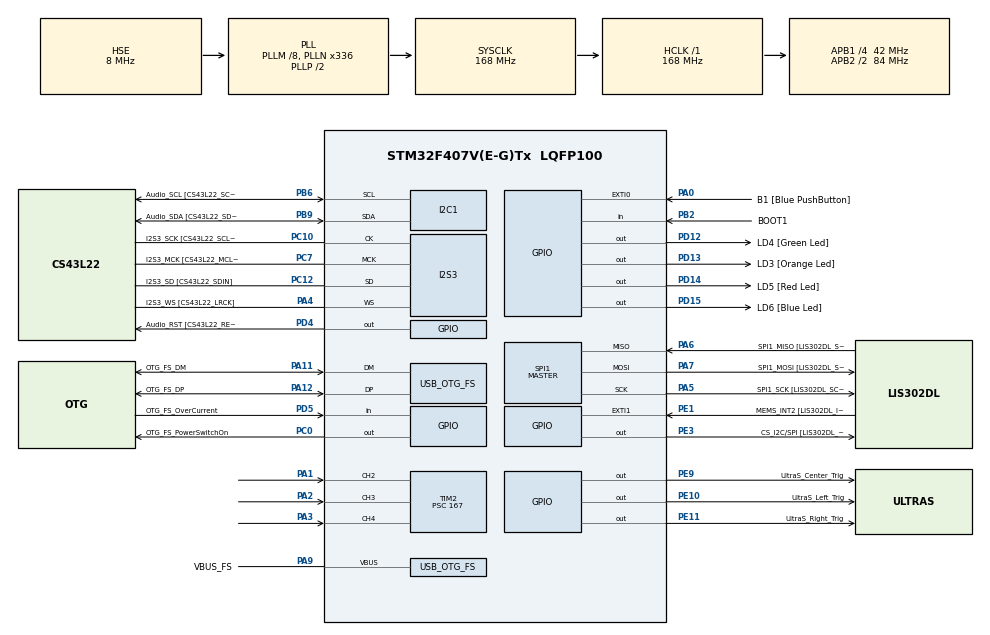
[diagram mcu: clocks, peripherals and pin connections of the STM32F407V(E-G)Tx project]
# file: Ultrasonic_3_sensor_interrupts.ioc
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I2S3.AudioFreq-Half_Duplex_Master=I2S_AUDIOFREQ_96K
I2S3.ErrorAudioFreq=-2.34 %
I2S3.ErrorAudioFreq-Half_Duplex_Master=0.8 %
I2S3.FullDuplexMode=I2S_FULLDUPLEXMODE_DISABLE
I2S3.Instance=SPI$Index
I2S3.RealAudioFreq=93.75 KHz
I2S3.RealAudioFreq-Half_Duplex_Master=96.774 KHz
I2S3.VirtualMode=I2S_MODE_MASTER
Mcu.Family=STM32F4
Mcu.Name=STM32F407V(E-G)Tx
Mcu.Package=LQFP100
NVIC.OTG_FS_IRQn=true\:0\:0\:false\:false\:true\:true\:true\:true
NVIC.PriorityGroup=NVIC_PRIORITYGROUP_0
NVIC.TIM2_IRQn=true\:0\:0\:false\:false\:true\:true\:true\:true
PA0-WKUP.GPIO_Label=B1 [Blue PushButton]
PA0-WKUP.GPIO_ModeDefaultEXTI=GPIO_MODE_EVT_RISING
PA0-WKUP.GPIO_PuPd=GPIO_NOPULL
PA0-WKUP.Signal=GPXTI0
PA1.Signal=S_TIM2_CH2
PA10.GPIO_Label=OTG_FS_ID
PA10.GPIO_Mode=GPIO_MODE_AF_PP
PA10.GPIO_PuPd=GPIO_NOPULL
PA10.GPIO_Speed=GPIO_SPEED_FREQ_LOW
PA10.Signal=USB_OTG_FS_ID
PA11.GPIO_Label=OTG_FS_DM
PA11.GPIO_Mode=GPIO_MODE_AF_PP
PA11.GPIO_PuPd=GPIO_NOPULL
PA11.GPIO_Speed=GPIO_SPEED_FREQ_LOW
PA11.Mode=Host_Only
PA11.Signal=USB_OTG_FS_DM
PA12.GPIO_Label=OTG_FS_DP
PA12.GPIO_Mode=GPIO_MODE_AF_PP
PA12.GPIO_PuPd=GPIO_NOPULL
PA12.GPIO_Speed=GPIO_SPEED_FREQ_LOW
PA12.Mode=Host_Only
PA12.Signal=USB_OTG_FS_DP
PA13.GPIO_Label=SWDIO
PA13.Mode=Serial_Wire
PA13.Signal=SYS_JTMS-SWDIO
PA14.GPIO_Label=SWCLK
PA14.Mode=Serial_Wire
PA14.Signal=SYS_JTCK-SWCLK
PA2.Signal=S_TIM2_CH3
PA3.Signal=S_TIM2_CH4
PA4.GPIO_Label=I2S3_WS [CS43L22_LRCK]
PA4.GPIO_Mode=GPIO_MODE_AF_PP
PA4.GPIO_PuPd=GPIO_NOPULL
PA4.GPIO_Speed=GPIO_SPEED_FREQ_LOW
PA4.Mode=Half_Duplex_Master
PA4.Signal=I2S3_WS
PA5.GPIO_Label=SPI1_SCK [LIS302DL_SCL/SPC]
PA5.GPIO_Mode=GPIO_MODE_AF_PP
PA5.GPIO_PuPd=GPIO_NOPULL
PA5.GPIO_Speed=GPIO_SPEED_FREQ_LOW
PA5.Mode=Full_Duplex_Master
PA5.Signal=SPI1_SCK
PA6.GPIO_Label=SPI1_MISO [LIS302DL_SDO]
PA6.GPIO_Mode=GPIO_MODE_AF_PP
PA6.GPIO_PuPd=GPIO_NOPULL
PA6.GPIO_Speed=GPIO_SPEED_FREQ_LOW
PA6.Mode=Full_Duplex_Master
PA6.Signal=SPI1_MISO
PA7.GPIO_Label=SPI1_MOSI [LIS302DL_SDA/SDI/SDO]
PA7.GPIO_Mode=GPIO_MODE_AF_PP
PA7.GPIO_PuPd=GPIO_NOPULL
PA7.GPIO_Speed=GPIO_SPEED_FREQ_LOW
PA7.Mode=Full_Duplex_Master
PA7.Signal=SPI1_MOSI
PA9.GPIO_Label=VBUS_FS
PA9.GPIO_Mode=GPIO_MODE_INPUT
PA9.GPIO_PuPd=GPIO_NOPULL
PA9.Mode=Activate_VBUS
PA9.Signal=USB_OTG_FS_VBUS
PB10.GPIO_Label=CLK_IN [MP45DT02_CLK]
PB10.GPIO_Mode=GPIO_MODE_AF_PP
PB10.GPIO_PuPd=GPIO_NOPULL
PB10.GPIO_Speed=GPIO_SPEED_FREQ_LOW
PB10.Signal=I2S2_CK
PB2.GPIO_Label=BOOT1
PB2.GPIO_Mode=GPIO_MODE_INPUT
PB2.GPIO_PuPd=GPIO_NOPULL
PB2.Signal=GPIO_Input
PB3.GPIO_Label=SWO
PB3.Signal=SYS_JTDO-SWO
PB6.GPIO_Label=Audio_SCL [CS43L22_SCL]
PB6.GPIO_Mode=GPIO_MODE_AF_OD
PB6.GPIO_Pu=GPIO_PULLUP
PB6.GPIO_PuPd=GPIO_NOPULL
PB6.GPIO_Speed=GPIO_SPEED_FREQ_LOW
PB6.Mode=I2C
PB6.Signal=I2C1_SCL
PB9.GPIO_Label=Audio_SDA [CS43L22_SDA]
PB9.GPIO_Mode=GPIO_MODE_AF_OD
PB9.GPIO_Pu=GPIO_PULLUP
PB9.GPIO_PuPd=GPIO_NOPULL
PB9.GPIO_Speed=GPIO_SPEED_FREQ_LOW
PB9.Mode=I2C
PB9.Signal=I2C1_SDA
PC0.GPIO_Label=OTG_FS_PowerSwitchOn
PC0.GPIO_PuPd=GPIO_NOPULL
PC0.GPIO_Speed=GPIO_SPEED_FREQ_LOW
PC0.PinState=GPIO_PIN_SET
PC0.Signal=GPIO_Output
PC10.GPIO_Label=I2S3_SCK [CS43L22_SCLK]
PC10.GPIO_Mode=GPIO_MODE_AF_PP
PC10.GPIO_PuPd=GPIO_NOPULL
PC10.GPIO_Speed=GPIO_SPEED_FREQ_LOW
PC10.Mode=Half_Duplex_Master
PC10.Signal=I2S3_CK
PC12.GPIO_Label=I2S3_SD [CS43L22_SDIN]
PC12.GPIO_Mode=GPIO_MODE_AF_PP
PC12.GPIO_PuPd=GPIO_NOPULL
PC12.GPIO_Speed=GPIO_SPEED_FREQ_LOW
PC12.Mode=Half_Duplex_Master
PC12.Signal=I2S3_SD
PC14-OSC32_IN.GPIO_Label=PC14-OSC32_IN
PC14-OSC32_IN.Mode=LSE-External-Oscillator
PC14-OSC32_IN.Signal=RCC_OSC32_IN
PC15-OSC32_OUT.GPIO_Label=PC15-OSC32_OUT
PC15-OSC32_OUT.Mode=LSE-External-Oscillator
PC15-OSC32_OUT.Signal=RCC_OSC32_OUT
PC3.GPIO_Label=PDM_OUT [MP45DT02_DOUT]
PC3.GPIO_Mode=GPIO_MODE_AF_PP
PC3.GPIO_PuPd=GPIO_NOPULL
PC3.GPIO_Speed=GPIO_SPEED_FREQ_LOW
PC3.Signal=I2S2_SD
PC7.GPIO_Label=I2S3_MCK [CS43L22_MCLK]
PC7.GPIO_Mode=GPIO_MODE_AF_PP
PC7.GPIO_PuPd=GPIO_NOPULL
PC7.GPIO_Speed=GPIO_SPEED_FREQ_LOW
PC7.Mode=Master_Clock_Activated
PC7.Signal=I2S3_MCK
PD12.GPIO_Label=LD4 [Green Led]
PD12.GPIO_PuPd=GPIO_NOPULL
PD12.GPIO_Speed=GPIO_SPEED_FREQ_LOW
PD12.Signal=GPIO_Output
PD13.GPIO_Label=LD3 [Orange Led]
PD13.GPIO_PuPd=GPIO_NOPULL
PD13.GPIO_Speed=GPIO_SPEED_FREQ_LOW
PD13.Signal=GPIO_Output
PD14.GPIO_Label=LD5 [Red Led]
PD14.GPIO_PuPd=GPIO_NOPULL
PD14.GPIO_Speed=GPIO_SPEED_FREQ_LOW
PD14.Signal=GPIO_Output
PD15.GPIO_Label=LD6 [Blue Led]
PD15.GPIO_PuPd=GPIO_NOPULL
PD15.GPIO_Speed=GPIO_SPEED_FREQ_LOW
PD15.Signal=GPIO_Output
PD4.GPIO_Label=Audio_RST [CS43L22_RESET]
PD4.GPIO_PuPd=GPIO_NOPULL
PD4.GPIO_Speed=GPIO_SPEED_FREQ_LOW
PD4.Signal=GPIO_Output
PD5.GPIO_Label=OTG_FS_OverCurrent
PD5.GPIO_Mode=GPIO_MODE_INPUT
PD5.GPIO_PuPd=GPIO_NOPULL
PD5.Signal=GPIO_Input
PE1.GPIO_Label=MEMS_INT2 [LIS302DL_INT2]
PE1.GPIO_ModeDefaultEXTI=GPIO_MODE_EVT_RISING
PE1.GPIO_PuPd=GPIO_NOPULL
PE1.Signal=GPXTI1
PE10.GPIO_Label=UltraS_Left_Trig
PE10.Signal=GPIO_Output
PE11.GPIO_Label=UltraS_Right_Trig
PE11.Signal=GPIO_Output
PE3.GPIO_Label=CS_I2C/SPI [LIS302DL_CS_I2C/SPI]
PE3.GPIO_PuPd=GPIO_NOPULL
PE3.GPIO_Speed=GPIO_SPEED_FREQ_LOW
PE3.Signal=GPIO_Output
PE9.GPIO_Label=UltraS_Center_Trig
PE9.Signal=GPIO_Output
PH0-OSC_IN.GPIO_Label=PH0-OSC_IN
PH0-OSC_IN.Mode=HSE-External-Oscillator
PH0-OSC_IN.Signal=RCC_OSC_IN
PH1-OSC_OUT.GPIO_Label=PH1-OSC_OUT
PH1-OSC_OUT.Mode=HSE-External-Oscillator
PH1-OSC_OUT.Signal=RCC_OSC_OUT
ProjectManager.HeapSize=0x200
ProjectManager.StackSize=0x400
ProjectManager.TargetToolchain=CMake
RCC.48MHZClocksFreq_Value=48000000
RCC.AHBFreq_Value=168000000
RCC.APB1CLKDivider=RCC_HCLK_DIV4
RCC.APB1Freq_Value=42000000
RCC.APB1TimFreq_Value=84000000
RCC.APB2CLKDivider=RCC_HCLK_DIV2
RCC.APB2Freq_Value=84000000
RCC.APB2TimFreq_Value=168000000
RCC.CortexFreq_Value=168000000
RCC.HCLKFreq_Value=168000000
RCC.HSE_VALUE=8000000
RCC.HSI_VALUE=16000000
RCC.PLLM=8
RCC.PLLN=336
RCC.PLLQ=7
RCC.SYSCLKFreq_VALUE=168000000
RCC.SYSCLKSource=RCC_SYSCLKSOURCE_PLLCLK
RCC.VCOOutputFreq_Value=336000000
SH.S_TIM2_CH2.0=TIM2_CH2,Input_Capture2_from_TI2
SH.S_TIM2_CH3.0=TIM2_CH3,Input_Capture3_from_TI3
SH.S_TIM2_CH4.0=TIM2_CH4,Input_Capture4_from_TI4
SPI1.BaudRatePrescaler-Full_Duplex_Master=SPI_BAUDRATEPRESCALER_2
SPI1.CalculateBaudRate-Full_Duplex_Master=42.0 MBits/s
SPI1.Direction=SPI_DIRECTION_2LINES
SPI1.Mode=SPI_MODE_MASTER
SPI1.Mode-Full_Duplex_Master=SPI_MODE_MASTER
SPI1.VirtualType=VM_MASTER
TIM2.Channel-Input_Capture2_from_TI2=TIM_CHANNEL_2
TIM2.Channel-Input_Capture3_from_TI3=TIM_CHANNEL_3
TIM2.Channel-Input_Capture4_from_TI4=TIM_CHANNEL_4
TIM2.Prescaler=167
USB_HOST.BSP.number=1
USB_HOST.USBH_HandleTypeDef-CDC_FS=hUsbHostFS
USB_HOST.VirtualModeFS=Cdc
USB_HOST0.BSP.STBoard=false
USB_HOST0.BSP.api=Unknown
USB_HOST0.BSP.instance=PC0
USB_HOST0.BSP.ip=GPIO
USB_HOST0.BSP.mode=Output
USB_HOST0.BSP.name=Drive_VBUS_FS
USB_HOST0.BSP.solution=PC0
USB_OTG_FS.VirtualMode=Host_Only
USB_OTG_FS.phy_itface=HCD_PHY_EMBEDDED
VP_TIM2_VS_ClockSourceINT.Mode=Internal
VP_USB_HOST_VS_USB_HOST_CDC_FS.Mode=CDC_FS
board=STM32F407G-DISC1

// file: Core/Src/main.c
/* USER CODE BEGIN Header */
/**
  ******************************************************************************
  * @file           : main.c
  * @brief          : Main program body
  ******************************************************************************
  * @attention
  *
  * Copyright (c) 2026 STMicroelectronics.
  * All rights reserved.
  *
  * This software is licensed under terms that can be found in the LICENSE file
  * in the root directory of this software component.
  * If no LICENSE file comes with this software, it is provided AS-IS.
  *
  ******************************************************************************
  */
/* USER CODE END Header */
#include "main.h"
#include "usb_host.h"

I2C_HandleTypeDef hi2c1;

I2S_HandleTypeDef hi2s3;

SPI_HandleTypeDef hspi1;

TIM_HandleTypeDef htim2;

/* USER CODE BEGIN PV */
typedef struct {
  uint32_t IC_Val1;
  uint32_t IC_Val2;
  uint32_t Difference; // (cm)
  uint8_t Is_First_Captured;
  float Distance; // (cm)
} HCSR04_t;

HCSR04_t sensors[3];

typedef enum ultrasonic_sensor_direction {
  CENTER = 0,
  LEFT = 1,
  RIGHT = 2
}ultrasonicDir;
/* USER CODE END PV */

void SystemClock_Config(void);
static void MX_GPIO_Init(void);
static void MX_I2C1_Init(void);
static void MX_I2S3_Init(void);
static void MX_SPI1_Init(void);
static void MX_TIM2_Init(void);
void MX_USB_HOST_Process(void);

/* USER CODE BEGIN 0 */
HCSR04_t* getSensorByChannel(uint32_t channel)
{
  switch(channel)
  {
    case HAL_TIM_ACTIVE_CHANNEL_2: return &sensors[CENTER];
    case HAL_TIM_ACTIVE_CHANNEL_3: return &sensors[LEFT];
    case HAL_TIM_ACTIVE_CHANNEL_4: return &sensors[RIGHT];
    default: return NULL;
  }
}

void DWT_Init(void)
{
  CoreDebug->DEMCR |= CoreDebug_DEMCR_TRCENA_Msk;
  DWT->CYCCNT = 0;
  DWT->CTRL |= DWT_CTRL_CYCCNTENA_Msk;
}

void delay_us(uint32_t us)
{
  uint32_t cycles = (SystemCoreClock / 1000000) * us;
  uint32_t start = DWT->CYCCNT;

  while ((DWT->CYCCNT - start) < cycles)
    ;
}

void HCSR04_Trigger(ultrasonicDir currDir)
{
  // select the ultrasonic sensor to trigger
  GPIO_TypeDef* Ultrasound_TRIG_GPIO_Port;
  uint16_t Ultrasound_TRIG_Pin;
  switch (currDir) {
    case CENTER:
      Ultrasound_TRIG_GPIO_Port = UltraS_Center_Trig_GPIO_Port;
      Ultrasound_TRIG_Pin = UltraS_Center_Trig_Pin;
      break;
    case LEFT:
      Ultrasound_TRIG_GPIO_Port = UltraS_Left_Trig_GPIO_Port;
      Ultrasound_TRIG_Pin = UltraS_Left_Trig_Pin;
      break;
    case RIGHT:
      Ultrasound_TRIG_GPIO_Port = UltraS_Right_Trig_GPIO_Port;
      Ultrasound_TRIG_Pin = UltraS_Right_Trig_Pin;
      break;
    default:
      return;
  }

  HAL_GPIO_WritePin(Ultrasound_TRIG_GPIO_Port, Ultrasound_TRIG_Pin, GPIO_PIN_RESET);
  delay_us(10);

  HAL_GPIO_WritePin(Ultrasound_TRIG_GPIO_Port , Ultrasound_TRIG_Pin, GPIO_PIN_SET);
  delay_us(10);

  HAL_GPIO_WritePin(Ultrasound_TRIG_GPIO_Port, Ultrasound_TRIG_Pin, GPIO_PIN_RESET);
}

void HAL_TIM_IC_CaptureCallback(TIM_HandleTypeDef *htim)
{
  HCSR04_t* sensor = getSensorByChannel(htim->Channel);
  if (sensor == NULL)
    return;

  uint32_t channel;

  switch(htim->Channel)
  {
    case HAL_TIM_ACTIVE_CHANNEL_2:
      channel = TIM_CHANNEL_2;
      break;
    case HAL_TIM_ACTIVE_CHANNEL_3:
      channel = TIM_CHANNEL_3;
      break;
    case HAL_TIM_ACTIVE_CHANNEL_4:
      channel = TIM_CHANNEL_4;
      break;
    default:
      return;
  }

  if (sensor->Is_First_Captured == 0)
  {
    sensor->IC_Val1 = HAL_TIM_ReadCapturedValue(htim, channel);
    sensor->Is_First_Captured = 1;

    __HAL_TIM_SET_CAPTUREPOLARITY(htim, channel, TIM_INPUTCHANNELPOLARITY_FALLING);
  }
  else if (sensor->Is_First_Captured == 1)
  {
    sensor->IC_Val2 = HAL_TIM_ReadCapturedValue(htim, channel);

    if (sensor->IC_Val2 > sensor->IC_Val1)
      sensor->Difference = sensor->IC_Val2 - sensor->IC_Val1;
    else
      sensor->Difference = (0xffffffff - sensor->IC_Val1) + sensor->IC_Val2;

    sensor->Distance = sensor->Difference * 0.034 / 2.0;

    sensor->Is_First_Captured = 0;

    __HAL_TIM_SET_CAPTUREPOLARITY(htim, channel, TIM_INPUTCHANNELPOLARITY_RISING);
  }
}
/* USER CODE END 0 */

int main(void)
{

  /* MCU Configuration--------------------------------------------------------*/

  /* Reset of all peripherals, Initializes the Flash interface and the Systick. */
  HAL_Init();

  /* Configure the system clock */
  SystemClock_Config();

  /* Initialize all configured peripherals */
  MX_GPIO_Init();
  MX_I2C1_Init();
  MX_I2S3_Init();
  MX_SPI1_Init();
  MX_USB_HOST_Init();
  MX_TIM2_Init();
  /* USER CODE BEGIN 2 */
  HAL_TIM_IC_Start_IT(&htim2, TIM_CHANNEL_2);
  HAL_TIM_IC_Start_IT(&htim2, TIM_CHANNEL_3);
  HAL_TIM_IC_Start_IT(&htim2, TIM_CHANNEL_4);
  DWT_Init();
  /* USER CODE END 2 */

  /* Infinite loop */
  /* USER CODE BEGIN WHILE */
  ultrasonicDir currDir;
  while (1)
  {
    // reality - CANNOT trigger all 3 sensors simultaneously: otherwise, we get interference
    // need 50 ms (at least 30 ms) between each sensor
    uint16_t ledPins[3] = {GPIO_PIN_12, GPIO_PIN_13, GPIO_PIN_14};
    for (int i = 0; i < 3; i++) {
      currDir = i;

      // reset the current sensor's values if they were left in the air previously
      sensors[i].Is_First_Captured = 0;
      sensors[i].Distance = 999;

      HCSR04_Trigger(currDir);
      HAL_Delay(50);

      // watchdog for if the current sensor doesn't receive echo => is_first_captured becomes stuck at 1 forever
      if (sensors[i].Is_First_Captured == 1) {
        sensors[i].Is_First_Captured = 0;
      }

      if(sensors[i].Distance <= 5) {
        HAL_GPIO_WritePin(GPIOD, ledPins[i], GPIO_PIN_SET);
      }
      else {
        HAL_GPIO_WritePin(GPIOD, ledPins[i], GPIO_PIN_RESET);
      }
    }

    /* USER CODE END WHILE */
    MX_USB_HOST_Process();

  }
}

void SystemClock_Config(void)
{
  RCC_OscInitTypeDef RCC_OscInitStruct = {0};
  RCC_ClkInitTypeDef RCC_ClkInitStruct = {0};

  /** Configure the main internal regulator output voltage
  */
  __HAL_RCC_PWR_CLK_ENABLE();
  __HAL_PWR_VOLTAGESCALING_CONFIG(PWR_REGULATOR_VOLTAGE_SCALE1);

  /** Initializes the RCC Oscillators according to the specified parameters
  * in the RCC_OscInitTypeDef structure.
  */
  RCC_OscInitStruct.OscillatorType = RCC_OSCILLATORTYPE_HSE;
  RCC_OscInitStruct.HSEState = RCC_HSE_ON;
  RCC_OscInitStruct.PLL.PLLState = RCC_PLL_ON;
  RCC_OscInitStruct.PLL.PLLSource = RCC_PLLSOURCE_HSE;
  RCC_OscInitStruct.PLL.PLLM = 8;
  RCC_OscInitStruct.PLL.PLLN = 336;
  RCC_OscInitStruct.PLL.PLLP = RCC_PLLP_DIV2;
  RCC_OscInitStruct.PLL.PLLQ = 7;
  if (HAL_RCC_OscConfig(&RCC_OscInitStruct) != HAL_OK)
  {
    Error_Handler();
  }

  /** Initializes the CPU, AHB and APB buses clocks
  */
  RCC_ClkInitStruct.ClockType = RCC_CLOCKTYPE_HCLK|RCC_CLOCKTYPE_SYSCLK
                              |RCC_CLOCKTYPE_PCLK1|RCC_CLOCKTYPE_PCLK2;
  RCC_ClkInitStruct.SYSCLKSource = RCC_SYSCLKSOURCE_PLLCLK;
  RCC_ClkInitStruct.AHBCLKDivider = RCC_SYSCLK_DIV1;
  RCC_ClkInitStruct.APB1CLKDivider = RCC_HCLK_DIV4;
  RCC_ClkInitStruct.APB2CLKDivider = RCC_HCLK_DIV2;

  if (HAL_RCC_ClockConfig(&RCC_ClkInitStruct, FLASH_LATENCY_5) != HAL_OK)
  {
    Error_Handler();
  }
}

static void MX_I2C1_Init(void)
{

  hi2c1.Instance = I2C1;
  hi2c1.Init.ClockSpeed = 100000;
  hi2c1.Init.DutyCycle = I2C_DUTYCYCLE_2;
  hi2c1.Init.OwnAddress1 = 0;
  hi2c1.Init.AddressingMode = I2C_ADDRESSINGMODE_7BIT;
  hi2c1.Init.DualAddressMode = I2C_DUALADDRESS_DISABLE;
  hi2c1.Init.OwnAddress2 = 0;
  hi2c1.Init.GeneralCallMode = I2C_GENERALCALL_DISABLE;
  hi2c1.Init.NoStretchMode = I2C_NOSTRETCH_DISABLE;
  if (HAL_I2C_Init(&hi2c1) != HAL_OK)
  {
    Error_Handler();
  }

}

static void MX_I2S3_Init(void)
{

  hi2s3.Instance = SPI3;
  hi2s3.Init.Mode = I2S_MODE_MASTER_TX;
  hi2s3.Init.Standard = I2S_STANDARD_PHILIPS;
  hi2s3.Init.DataFormat = I2S_DATAFORMAT_16B;
  hi2s3.Init.MCLKOutput = I2S_MCLKOUTPUT_ENABLE;
  hi2s3.Init.AudioFreq = I2S_AUDIOFREQ_96K;
  hi2s3.Init.CPOL = I2S_CPOL_LOW;
  hi2s3.Init.ClockSource = I2S_CLOCK_PLL;
  hi2s3.Init.FullDuplexMode = I2S_FULLDUPLEXMODE_DISABLE;
  if (HAL_I2S_Init(&hi2s3) != HAL_OK)
  {
    Error_Handler();
  }

}

static void MX_SPI1_Init(void)
{

  /* SPI1 parameter configuration*/
  hspi1.Instance = SPI1;
  hspi1.Init.Mode = SPI_MODE_MASTER;
  hspi1.Init.Direction = SPI_DIRECTION_2LINES;
  hspi1.Init.DataSize = SPI_DATASIZE_8BIT;
  hspi1.Init.CLKPolarity = SPI_POLARITY_LOW;
  hspi1.Init.CLKPhase = SPI_PHASE_1EDGE;
  hspi1.Init.NSS = SPI_NSS_SOFT;
  hspi1.Init.BaudRatePrescaler = SPI_BAUDRATEPRESCALER_2;
  hspi1.Init.FirstBit = SPI_FIRSTBIT_MSB;
  hspi1.Init.TIMode = SPI_TIMODE_DISABLE;
  hspi1.Init.CRCCalculation = SPI_CRCCALCULATION_DISABLE;
  hspi1.Init.CRCPolynomial = 10;
  if (HAL_SPI_Init(&hspi1) != HAL_OK)
  {
    Error_Handler();
  }

}

static void MX_TIM2_Init(void)
{

  TIM_ClockConfigTypeDef sClockSourceConfig = {0};
  TIM_MasterConfigTypeDef sMasterConfig = {0};
  TIM_IC_InitTypeDef sConfigIC = {0};

  htim2.Instance = TIM2;
  htim2.Init.Prescaler = 167;
  htim2.Init.CounterMode = TIM_COUNTERMODE_UP;
  htim2.Init.Period = 4294967295;
  htim2.Init.ClockDivision = TIM_CLOCKDIVISION_DIV1;
  htim2.Init.AutoReloadPreload = TIM_AUTORELOAD_PRELOAD_DISABLE;
  if (HAL_TIM_Base_Init(&htim2) != HAL_OK)
  {
    Error_Handler();
  }
  sClockSourceConfig.ClockSource = TIM_CLOCKSOURCE_INTERNAL;
  if (HAL_TIM_ConfigClockSource(&htim2, &sClockSourceConfig) != HAL_OK)
  {
    Error_Handler();
  }
  if (HAL_TIM_IC_Init(&htim2) != HAL_OK)
  {
    Error_Handler();
  }
  sMasterConfig.MasterOutputTrigger = TIM_TRGO_RESET;
  sMasterConfig.MasterSlaveMode = TIM_MASTERSLAVEMODE_DISABLE;
  if (HAL_TIMEx_MasterConfigSynchronization(&htim2, &sMasterConfig) != HAL_OK)
  {
    Error_Handler();
  }
  sConfigIC.ICPolarity = TIM_INPUTCHANNELPOLARITY_RISING;
  sConfigIC.ICSelection = TIM_ICSELECTION_DIRECTTI;
  sConfigIC.ICPrescaler = TIM_ICPSC_DIV1;
  sConfigIC.ICFilter = 0;
  if (HAL_TIM_IC_ConfigChannel(&htim2, &sConfigIC, TIM_CHANNEL_2) != HAL_OK)
  {
    Error_Handler();
  }
  if (HAL_TIM_IC_ConfigChannel(&htim2, &sConfigIC, TIM_CHANNEL_3) != HAL_OK)
  {
    Error_Handler();
  }
  if (HAL_TIM_IC_ConfigChannel(&htim2, &sConfigIC, TIM_CHANNEL_4) != HAL_OK)
  {
    Error_Handler();
  }

}

static void MX_GPIO_Init(void)
{
  GPIO_InitTypeDef GPIO_InitStruct = {0};

  /* GPIO Ports Clock Enable */
  __HAL_RCC_GPIOE_CLK_ENABLE();
  __HAL_RCC_GPIOC_CLK_ENABLE();
  __HAL_RCC_GPIOH_CLK_ENABLE();
  __HAL_RCC_GPIOA_CLK_ENABLE();
  __HAL_RCC_GPIOB_CLK_ENABLE();
  __HAL_RCC_GPIOD_CLK_ENABLE();

  /*Configure GPIO pin Output Level */
  HAL_GPIO_WritePin(GPIOE, CS_I2C_SPI_Pin|UltraS_Center_Trig_Pin|UltraS_Left_Trig_Pin|UltraS_Right_Trig_Pin, GPIO_PIN_RESET);

  /*Configure GPIO pin Output Level */
  HAL_GPIO_WritePin(OTG_FS_PowerSwitchOn_GPIO_Port, OTG_FS_PowerSwitchOn_Pin, GPIO_PIN_SET);

  /*Configure GPIO pin Output Level */
  HAL_GPIO_WritePin(GPIOD, LD4_Pin|LD3_Pin|LD5_Pin|LD6_Pin
                          |Audio_RST_Pin, GPIO_PIN_RESET);

  /*Configure GPIO pins : CS_I2C_SPI_Pin UltraS_Center_Trig_Pin UltraS_Left_Trig_Pin UltraS_Right_Trig_Pin */
  GPIO_InitStruct.Pin = CS_I2C_SPI_Pin|UltraS_Center_Trig_Pin|UltraS_Left_Trig_Pin|UltraS_Right_Trig_Pin;
  GPIO_InitStruct.Mode = GPIO_MODE_OUTPUT_PP;
  GPIO_InitStruct.Pull = GPIO_NOPULL;
  GPIO_InitStruct.Speed = GPIO_SPEED_FREQ_LOW;
  HAL_GPIO_Init(GPIOE, &GPIO_InitStruct);

  /*Configure GPIO pin : OTG_FS_PowerSwitchOn_Pin */
  GPIO_InitStruct.Pin = OTG_FS_PowerSwitchOn_Pin;
  GPIO_InitStruct.Mode = GPIO_MODE_OUTPUT_PP;
  GPIO_InitStruct.Pull = GPIO_NOPULL;
  GPIO_InitStruct.Speed = GPIO_SPEED_FREQ_LOW;
  HAL_GPIO_Init(OTG_FS_PowerSwitchOn_GPIO_Port, &GPIO_InitStruct);

  /*Configure GPIO pin : PDM_OUT_Pin */
  GPIO_InitStruct.Pin = PDM_OUT_Pin;
  GPIO_InitStruct.Mode = GPIO_MODE_AF_PP;
  GPIO_InitStruct.Pull = GPIO_NOPULL;
  GPIO_InitStruct.Speed = GPIO_SPEED_FREQ_LOW;
  GPIO_InitStruct.Alternate = GPIO_AF5_SPI2;
  HAL_GPIO_Init(PDM_OUT_GPIO_Port, &GPIO_InitStruct);

  /*Configure GPIO pin : B1_Pin */
  GPIO_InitStruct.Pin = B1_Pin;
  GPIO_InitStruct.Mode = GPIO_MODE_EVT_RISING;
  GPIO_InitStruct.Pull = GPIO_NOPULL;
  HAL_GPIO_Init(B1_GPIO_Port, &GPIO_InitStruct);

  /*Configure GPIO pin : BOOT1_Pin */
  GPIO_InitStruct.Pin = BOOT1_Pin;
  GPIO_InitStruct.Mode = GPIO_MODE_INPUT;
  GPIO_InitStruct.Pull = GPIO_NOPULL;
  HAL_GPIO_Init(BOOT1_GPIO_Port, &GPIO_InitStruct);

  /*Configure GPIO pin : CLK_IN_Pin */
  GPIO_InitStruct.Pin = CLK_IN_Pin;
  GPIO_InitStruct.Mode = GPIO_MODE_AF_PP;
  GPIO_InitStruct.Pull = GPIO_NOPULL;
  GPIO_InitStruct.Speed = GPIO_SPEED_FREQ_LOW;
  GPIO_InitStruct.Alternate = GPIO_AF5_SPI2;
  HAL_GPIO_Init(CLK_IN_GPIO_Port, &GPIO_InitStruct);

  /*Configure GPIO pins : LD4_Pin LD3_Pin LD5_Pin LD6_Pin
                           Audio_RST_Pin */
  GPIO_InitStruct.Pin = LD4_Pin|LD3_Pin|LD5_Pin|LD6_Pin
                          |Audio_RST_Pin;
  GPIO_InitStruct.Mode = GPIO_MODE_OUTPUT_PP;
  GPIO_InitStruct.Pull = GPIO_NOPULL;
  GPIO_InitStruct.Speed = GPIO_SPEED_FREQ_LOW;
  HAL_GPIO_Init(GPIOD, &GPIO_InitStruct);

  /*Configure GPIO pin : OTG_FS_OverCurrent_Pin */
  GPIO_InitStruct.Pin = OTG_FS_OverCurrent_Pin;
  GPIO_InitStruct.Mode = GPIO_MODE_INPUT;
  GPIO_InitStruct.Pull = GPIO_NOPULL;
  HAL_GPIO_Init(OTG_FS_OverCurrent_GPIO_Port, &GPIO_InitStruct);

  /*Configure GPIO pin : MEMS_INT2_Pin */
  GPIO_InitStruct.Pin = MEMS_INT2_Pin;
  GPIO_InitStruct.Mode = GPIO_MODE_EVT_RISING;
  GPIO_InitStruct.Pull = GPIO_NOPULL;
  HAL_GPIO_Init(MEMS_INT2_GPIO_Port, &GPIO_InitStruct);

}

void Error_Handler(void)
{
  __disable_irq();
  while (1)
  {
  }
}
